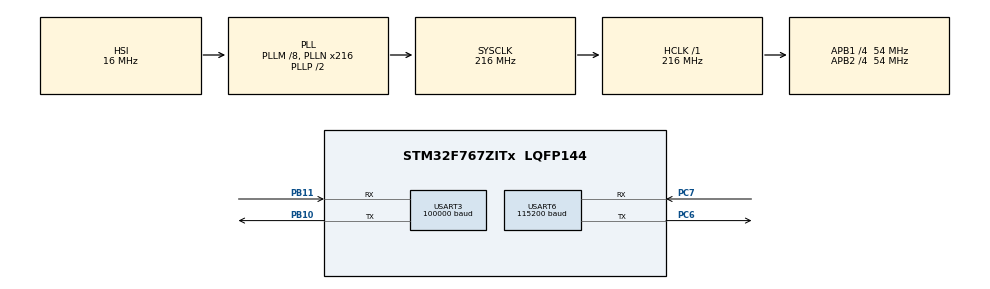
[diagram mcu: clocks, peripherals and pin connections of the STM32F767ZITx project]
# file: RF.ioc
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Dma.Request0=USART3_RX
Dma.Request1=USART6_RX
Dma.USART3_RX.0.Direction=DMA_PERIPH_TO_MEMORY
Dma.USART3_RX.0.FIFOMode=DMA_FIFOMODE_DISABLE
Dma.USART3_RX.0.Instance=DMA1_Stream1
Dma.USART3_RX.0.MemDataAlignment=DMA_MDATAALIGN_BYTE
Dma.USART3_RX.0.MemInc=DMA_MINC_ENABLE
Dma.USART3_RX.0.Mode=DMA_NORMAL
Dma.USART3_RX.0.PeriphDataAlignment=DMA_PDATAALIGN_BYTE
Dma.USART3_RX.0.PeriphInc=DMA_PINC_DISABLE
Dma.USART3_RX.0.Priority=DMA_PRIORITY_LOW
Dma.USART6_RX.1.Direction=DMA_PERIPH_TO_MEMORY
Dma.USART6_RX.1.FIFOMode=DMA_FIFOMODE_DISABLE
Dma.USART6_RX.1.Instance=DMA2_Stream1
Dma.USART6_RX.1.MemDataAlignment=DMA_MDATAALIGN_BYTE
Dma.USART6_RX.1.MemInc=DMA_MINC_ENABLE
Dma.USART6_RX.1.Mode=DMA_NORMAL
Dma.USART6_RX.1.PeriphDataAlignment=DMA_PDATAALIGN_BYTE
Dma.USART6_RX.1.PeriphInc=DMA_PINC_DISABLE
Dma.USART6_RX.1.Priority=DMA_PRIORITY_LOW
Mcu.Family=STM32F7
Mcu.Name=STM32F767ZITx
Mcu.Package=LQFP144
NVIC.DMA1_Stream1_IRQn=true\:0\:0\:false\:false\:true\:false\:true
NVIC.DMA2_Stream1_IRQn=true\:0\:0\:false\:false\:true\:false\:true
NVIC.PriorityGroup=NVIC_PRIORITYGROUP_4
NVIC.USART3_IRQn=true\:0\:0\:false\:false\:true\:true\:true
NVIC.USART6_IRQn=true\:0\:0\:false\:false\:true\:true\:true
PB10.Mode=Asynchronous
PB10.Signal=USART3_TX
PB11.Mode=Asynchronous
PB11.Signal=USART3_RX
PC6.Mode=Asynchronous
PC6.Signal=USART6_TX
PC7.Mode=Asynchronous
PC7.Signal=USART6_RX
PH0/OSC_IN.Mode=HSE-External-Oscillator
PH0/OSC_IN.Signal=RCC_OSC_IN
PH1/OSC_OUT.Mode=HSE-External-Oscillator
PH1/OSC_OUT.Signal=RCC_OSC_OUT
ProjectManager.HeapSize=0x200
ProjectManager.StackSize=0x400
ProjectManager.TargetToolchain=STM32CubeIDE
RCC.AHBFreq_Value=216000000
RCC.APB1CLKDivider=RCC_HCLK_DIV4
RCC.APB1Freq_Value=54000000
RCC.APB1TimFreq_Value=108000000
RCC.APB2CLKDivider=RCC_HCLK_DIV4
RCC.APB2Freq_Value=54000000
RCC.APB2TimFreq_Value=108000000
RCC.CortexFreq_Value=216000000
RCC.FLatency-AdvancedSettings=FLASH_LATENCY_7
RCC.HCLKFreq_Value=216000000
RCC.HSE_VALUE=8000000
RCC.HSI_VALUE=16000000
RCC.LSE_VALUE=32768
RCC.PLLM=8
RCC.PLLN=216
RCC.SYSCLKFreq_VALUE=216000000
RCC.SYSCLKSource=RCC_SYSCLKSOURCE_PLLCLK
RCC.USBFreq_Value=216000000
RCC.VCOOutputFreq_Value=432000000
USART3.BaudRate=100000
USART3.Mode=MODE_RX
USART3.Parity=PARITY_EVEN
USART3.RxPinLevelInvertParam=ADVFEATURE_RXINV_ENABLE
USART3.StopBits=STOPBITS_2
USART3.VirtualMode-Asynchronous=VM_ASYNC
USART3.WordLength=WORDLENGTH_9B
USART6.BaudRate=115200
USART6.OverSampling=UART_OVERSAMPLING_16
USART6.VirtualMode-Asynchronous=VM_ASYNC
board=custom

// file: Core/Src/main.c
/* USER CODE BEGIN Header */
/**
  ******************************************************************************
  * @file           : main.c
  * @brief          : Main program body
  ******************************************************************************
  * @attention
  *
  * Copyright (c) 2022 STMicroelectronics.
  * All rights reserved.
  *
  * This software is licensed under terms that can be found in the LICENSE file
  * in the root directory of this software component.
  * If no LICENSE file comes with this software, it is provided AS-IS.
  *
  ******************************************************************************
  */
/* USER CODE END Header */
#include "main.h"

/* USER CODE BEGIN PTD */
#ifdef __GNUC__
  /* With GCC, small printf (option LD Linker->Libraries->Small printf
     set to 'Yes') calls __io_putchar() */
  #define PUTCHAR_PROTOTYPE int __io_putchar(int ch)
#else
  #define PUTCHAR_PROTOTYPE int fputc(int ch, FILE *f)
#endif /* __GNUC__ */
/* USER CODE END PTD */

UART_HandleTypeDef huart3;
UART_HandleTypeDef huart6;
DMA_HandleTypeDef hdma_usart3_rx;
DMA_HandleTypeDef hdma_usart6_rx;

void SystemClock_Config(void);
static void MX_GPIO_Init(void);
static void MX_DMA_Init(void);
static void MX_USART3_UART_Init(void);
static void MX_USART6_UART_Init(void);

/* USER CODE BEGIN 0 */

int x=0;
char data_original[26];
char rec_sbus_data[25];

int sbus_channel[10];
/*
void HAL_UART_RxCpltCallback(UART_HandleTypeDef *huart)
{
  HAL_UART_Receive_IT(&huart6,receive_buff, 5);
}
*/
/* USER CODE END 0 */

int main(void)
{

  /* MCU Configuration--------------------------------------------------------*/

  /* Reset of all peripherals, Initializes the Flash interface and the Systick. */
  HAL_Init();

  /* Configure the system clock */
  SystemClock_Config();

  /* Initialize all configured peripherals */
  MX_GPIO_Init();
  MX_DMA_Init();
  MX_USART3_UART_Init();
  MX_USART6_UART_Init();
  /* USER CODE BEGIN 2 */

  //__HAL_UART_ENABLE_IT(&huart6, UART_IT_IDLE);
  //_HAL_UART_ENABLE_IT(&huart6, UART_IT_IDLE);

  /* USER CODE END 2 */

  /* Infinite loop */
  /* USER CODE BEGIN WHILE */
  while (1)
  {
	  memset(data_original,0,26);
	  HAL_UART_Receive_DMA(&huart3, (uint8_t*)data_original, 26);
	  HAL_Delay(30);
	  for(int i=0;i<26;i++){
		  rec_sbus_data[i]=data_original[i+1];
	  }

	  printf("R %s\n",(char*)rec_sbus_data);
	  if(rec_sbus_data[0]==15){
		  sbus_channel[0]  = ((rec_sbus_data[1]|rec_sbus_data[2]<<8) & 0x07FF);
		  sbus_channel[1]  = ((rec_sbus_data[2]>>3 |rec_sbus_data[3]<<5)                 & 0x07FF);
		  sbus_channel[2]  = ((rec_sbus_data[3]>>6 |rec_sbus_data[4]<<2 |rec_sbus_data[5]<<10)  & 0x07FF);
		  sbus_channel[3]  = ((rec_sbus_data[5]>>1 |rec_sbus_data[6]<<7)                 & 0x07FF);
		  sbus_channel[4]  = ((rec_sbus_data[6]>>4 |rec_sbus_data[7]<<4)                 & 0x07FF);
		  sbus_channel[5]  = ((rec_sbus_data[7]>>7 |rec_sbus_data[8]<<1 |rec_sbus_data[9]<<9)   & 0x07FF);
		  sbus_channel[6]  = ((rec_sbus_data[9]>>2 |rec_sbus_data[10]<<6)                & 0x07FF);
		  sbus_channel[7]  = ((rec_sbus_data[10]>>5|rec_sbus_data[11]<<3)                & 0x07FF);
		  sbus_channel[8]  = ((rec_sbus_data[12]   |rec_sbus_data[13]<<8)                & 0x07FF);
		  sbus_channel[9]  = ((rec_sbus_data[13]>>3|rec_sbus_data[14]<<5)                & 0x07FF);
	  }
	  printf(" canal 1 %d\n ",sbus_channel[0]);
	  printf(" canal 2 %d\n ",sbus_channel[1]);
	  printf(" canal 3 %d\n ",sbus_channel[2]);
	  printf(" canal 4 %d\n ",sbus_channel[3]);
	  printf(" canal 5 %d\n ",sbus_channel[4]);
	  printf(" canal 6 %d\n ",sbus_channel[5]);
	  printf(" canal 7 %d\n ",sbus_channel[6]);
	  printf(" canal 8 %d\n ",sbus_channel[7]);
	  printf(" canal 9 %d\n ",sbus_channel[8]);
	  HAL_Delay(1000);

    /* USER CODE END WHILE */

  }
}

void SystemClock_Config(void)
{
  RCC_OscInitTypeDef RCC_OscInitStruct = {0};
  RCC_ClkInitTypeDef RCC_ClkInitStruct = {0};

  /** Configure the main internal regulator output voltage
  */
  __HAL_RCC_PWR_CLK_ENABLE();
  __HAL_PWR_VOLTAGESCALING_CONFIG(PWR_REGULATOR_VOLTAGE_SCALE1);
  /** Initializes the RCC Oscillators according to the specified parameters
  * in the RCC_OscInitTypeDef structure.
  */
  RCC_OscInitStruct.OscillatorType = RCC_OSCILLATORTYPE_HSI;
  RCC_OscInitStruct.HSIState = RCC_HSI_ON;
  RCC_OscInitStruct.HSICalibrationValue = RCC_HSICALIBRATION_DEFAULT;
  RCC_OscInitStruct.PLL.PLLState = RCC_PLL_ON;
  RCC_OscInitStruct.PLL.PLLSource = RCC_PLLSOURCE_HSI;
  RCC_OscInitStruct.PLL.PLLM = 8;
  RCC_OscInitStruct.PLL.PLLN = 216;
  RCC_OscInitStruct.PLL.PLLP = RCC_PLLP_DIV2;
  RCC_OscInitStruct.PLL.PLLQ = 2;
  RCC_OscInitStruct.PLL.PLLR = 2;
  if (HAL_RCC_OscConfig(&RCC_OscInitStruct) != HAL_OK)
  {
    Error_Handler();
  }
  /** Activate the Over-Drive mode
  */
  if (HAL_PWREx_EnableOverDrive() != HAL_OK)
  {
    Error_Handler();
  }
  /** Initializes the CPU, AHB and APB buses clocks
  */
  RCC_ClkInitStruct.ClockType = RCC_CLOCKTYPE_HCLK|RCC_CLOCKTYPE_SYSCLK
                              |RCC_CLOCKTYPE_PCLK1|RCC_CLOCKTYPE_PCLK2;
  RCC_ClkInitStruct.SYSCLKSource = RCC_SYSCLKSOURCE_PLLCLK;
  RCC_ClkInitStruct.AHBCLKDivider = RCC_SYSCLK_DIV1;
  RCC_ClkInitStruct.APB1CLKDivider = RCC_HCLK_DIV4;
  RCC_ClkInitStruct.APB2CLKDivider = RCC_HCLK_DIV4;

  if (HAL_RCC_ClockConfig(&RCC_ClkInitStruct, FLASH_LATENCY_7) != HAL_OK)
  {
    Error_Handler();
  }
}

static void MX_USART3_UART_Init(void)
{

  huart3.Instance = USART3;
  huart3.Init.BaudRate = 100000;
  huart3.Init.WordLength = UART_WORDLENGTH_9B;
  huart3.Init.StopBits = UART_STOPBITS_2;
  huart3.Init.Parity = UART_PARITY_EVEN;
  huart3.Init.Mode = UART_MODE_RX;
  huart3.Init.HwFlowCtl = UART_HWCONTROL_NONE;
  huart3.Init.OverSampling = UART_OVERSAMPLING_16;
  huart3.Init.OneBitSampling = UART_ONE_BIT_SAMPLE_DISABLE;
  huart3.AdvancedInit.AdvFeatureInit = UART_ADVFEATURE_RXINVERT_INIT;
  huart3.AdvancedInit.RxPinLevelInvert = UART_ADVFEATURE_RXINV_ENABLE;
  if (HAL_UART_Init(&huart3) != HAL_OK)
  {
    Error_Handler();
  }

}

static void MX_USART6_UART_Init(void)
{

  huart6.Instance = USART6;
  huart6.Init.BaudRate = 115200;
  huart6.Init.WordLength = UART_WORDLENGTH_8B;
  huart6.Init.StopBits = UART_STOPBITS_1;
  huart6.Init.Parity = UART_PARITY_NONE;
  huart6.Init.Mode = UART_MODE_TX_RX;
  huart6.Init.HwFlowCtl = UART_HWCONTROL_NONE;
  huart6.Init.OverSampling = UART_OVERSAMPLING_16;
  huart6.Init.OneBitSampling = UART_ONE_BIT_SAMPLE_DISABLE;
  huart6.AdvancedInit.AdvFeatureInit = UART_ADVFEATURE_NO_INIT;
  if (HAL_UART_Init(&huart6) != HAL_OK)
  {
    Error_Handler();
  }

}

static void MX_DMA_Init(void)
{

  /* DMA controller clock enable */
  __HAL_RCC_DMA1_CLK_ENABLE();
  __HAL_RCC_DMA2_CLK_ENABLE();

  /* DMA interrupt init */
  /* DMA1_Stream1_IRQn interrupt configuration */
  HAL_NVIC_SetPriority(DMA1_Stream1_IRQn, 0, 0);
  HAL_NVIC_EnableIRQ(DMA1_Stream1_IRQn);
  /* DMA2_Stream1_IRQn interrupt configuration */
  HAL_NVIC_SetPriority(DMA2_Stream1_IRQn, 0, 0);
  HAL_NVIC_EnableIRQ(DMA2_Stream1_IRQn);

}

static void MX_GPIO_Init(void)
{

  /* GPIO Ports Clock Enable */
  __HAL_RCC_GPIOH_CLK_ENABLE();
  __HAL_RCC_GPIOB_CLK_ENABLE();
  __HAL_RCC_GPIOC_CLK_ENABLE();

}

/* USER CODE BEGIN 4 */
PUTCHAR_PROTOTYPE
{
  /* Place your implementation of fputc here */
  /* e.g. write a character to the EVAL_COM1 and Loop until the end of transmission*/
  HAL_UART_Transmit(&huart6, (uint8_t *)&ch, 1, 0xFFFF);

  return ch;
}

void USAR_UART_IDLECallback(UART_HandleTypeDef *huart)
{
  /* Prevent unused argument(s) compilation warning */

  //UNUSED(huart);
  /* NOTE: This function should not be modified, when the callback is needed,
           the HAL_UART_RxCpltCallback could be implemented in the user file
   */

  //Stop this DMA transmission
  //HAL_UART_DMAStop(&huart3);

  //Restart to start DMA transmission of 255 bytes of data at a time

  //Stop this DMA transmission
  //HAL_UART_DMAStop(&huart3);
  /*
	switch(myUART_State)
	{
		case UT_START:
			if(rxBuf[0] == '*' && rxBuf[2] == '#')
			{
				//Start UART DMA receive based on User specified length (Caviat: always ensure user requested)
				if(rxBuf[1] <= sizeof(rxBuf))
				{
					printf("Send CMD:\r\n");
					HAL_UART_Receive_DMA(&huart3, (uint8_t *)rxBuf, 10);
					myUART_State = UT_APP;
				}
				else
				{
					printf("Invalid size\r\n");
					HAL_UART_Receive_DMA(&huart3, (uint8_t *)rxBuf, 10);
				}
			}
			else
			{
				printf("Invalid command\r\n");
				HAL_UART_Receive_DMA(&huart3, (uint8_t *)rxBuf, 10);
			}
			break;

		case UT_APP:
			application_handling(rxBuf);
			memset(rxBuf, sizeof(rxBuf), 0);
			//Get back to state 1
			HAL_UART_Receive_DMA(&huart3, (uint8_t *)rxBuf, 10);
			myUART_State = UT_START;
			break;
	}
   */

	// * 1 #
//	//Check the command msg
//	if(rxBuf[0] == '*' && rxBuf[2] == '#')  //A valid command
//	{
//		//If commmand is = 0, Turn LED OFF
//		if(rxBuf[1] == 0)
//		{
//			HAL_GPIO_WritePin(LED_GPIO_Port, LED_Pin, GPIO_PIN_RESET);
//			printf("LED Turned OFF\r\n");
//		}
//		//If commmand is = 1, Turn LED ON
//		else if(rxBuf[1] == 1)
//		{
//			HAL_GPIO_WritePin(LED_GPIO_Port, LED_Pin, GPIO_PIN_SET);
//			printf("LED Turned ON\r\n");
//		}
//		else
//		{
//			printf("Invalid Command!\r\n");
//		}
//	}

//	HAL_UART_Receive_DMA(&huart2, (uint8_t *)rxBuf, 3);
}
/* USER CODE END 4 */

void Error_Handler(void)
{
  __disable_irq();
  while (1)
  {
  }
}
